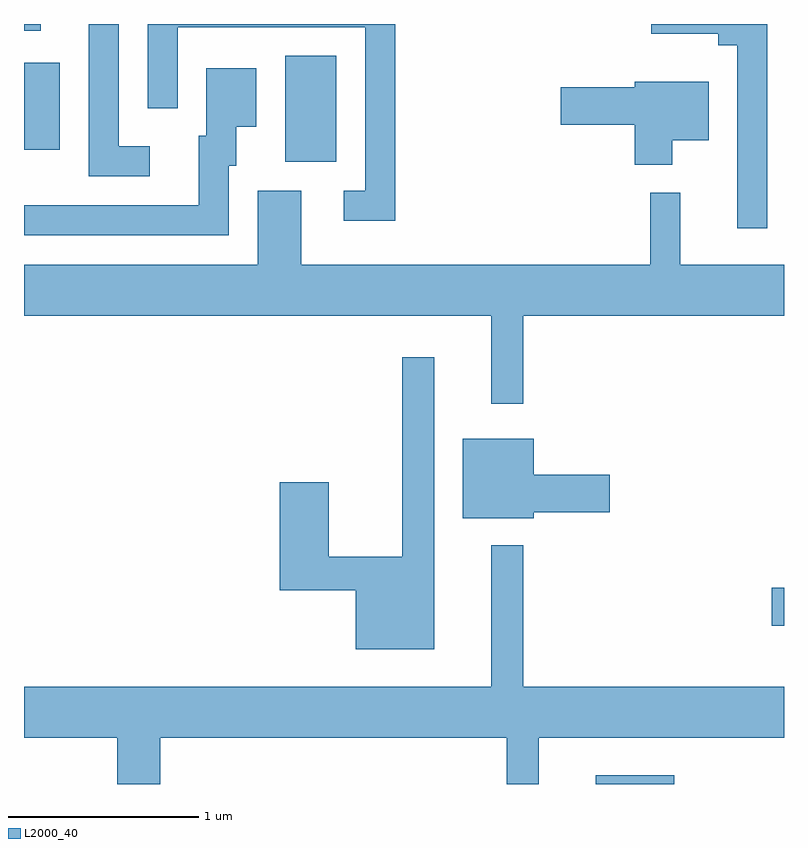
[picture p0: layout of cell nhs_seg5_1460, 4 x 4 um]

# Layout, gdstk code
import gdstk
lib = gdstk.Library(unit=1e-6, precision=1e-09)
def R(c, l, rs):  # rectangles x0, y0, x1, y1
    for r in rs: c.add(gdstk.rectangle(r[:2], r[2:], *l))
def P(c, l, *ps):  # polygons
    for p in ps: c.add(gdstk.Polygon(p, *l))
L2000_40 = (2000, 40)

nhs_seg5_1460 = lib.new_cell('nhs_seg5_1460')
R(nhs_seg5_1460, L2000_40, [(230.621,1492.072,231.034,1492.119), (231.546,1492.906,231.611,1493.104), (228.986,1495.346,229.254,1495.904), (227.611,1495.411,227.799,1495.869), (227.611,1496.036,227.698,1496.072)])
P(nhs_seg5_1460, L2000_40, [(229.564,1496.072),(228.261,1496.072),(228.261,1495.628),(228.419,1495.628),(228.419,1496.056),(229.406,1496.056),(229.406,1495.194),(229.293,1495.194),(229.293,1495.036),(229.564,1495.036)],
  [(231.524,1496.072),(230.911,1496.072),(230.911,1496.021),(231.266,1496.021),(231.266,1495.961),(231.366,1495.961),(231.366,1494.998),(231.524,1494.998)],
  [(228.273,1495.429),(228.109,1495.429),(228.109,1496.072),(227.951,1496.072),(227.951,1495.271),(228.273,1495.271)],
  [(228.689,1495.326),(228.729,1495.326),(228.729,1495.531),(228.834,1495.531),(228.834,1495.839),(228.571,1495.839),(228.571,1495.484),(228.531,1495.484),(228.531,1495.119),(227.611,1495.119),(227.611,1494.961),(228.689,1494.961)],
  [(231.024,1495.461),(231.214,1495.461),(231.214,1495.769),(230.826,1495.769),(230.826,1495.739),(230.436,1495.739),(230.436,1495.541),(230.826,1495.541),(230.826,1495.331),(231.024,1495.331)],
  [(230.239,1494.536),(231.611,1494.536),(231.611,1494.804),(231.064,1494.804),(231.064,1495.183),(230.906,1495.183),(230.906,1494.804),(229.069,1494.804),(229.069,1495.194),(228.841,1495.194),(228.841,1494.804),(227.611,1494.804),(227.611,1494.536),(230.071,1494.536),(230.071,1494.073),(230.239,1494.073)],
  [(229.769,1494.318),(229.601,1494.318),(229.601,1493.269),(229.214,1493.269),(229.214,1493.659),(228.956,1493.659),(228.956,1493.091),(229.356,1493.091),(229.356,1492.781),(229.769,1492.781)],
  [(230.294,1493.501),(230.694,1493.501),(230.694,1493.699),(230.294,1493.699),(230.294,1493.889),(229.921,1493.889),(229.921,1493.471),(230.294,1493.471)],
  [(228.329,1492.316),(230.151,1492.316),(230.151,1492.072),(230.319,1492.072),(230.319,1492.316),(231.611,1492.316),(231.611,1492.584),(230.239,1492.584),(230.239,1493.328),(230.071,1493.328),(230.071,1492.584),(227.611,1492.584),(227.611,1492.316),(228.101,1492.316),(228.101,1492.072),(228.329,1492.072)])

lib.write_gds('nhs_seg5_1460.gds')
